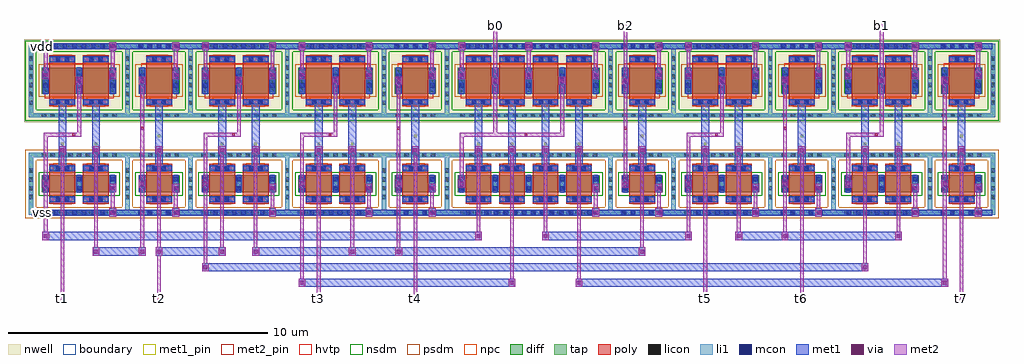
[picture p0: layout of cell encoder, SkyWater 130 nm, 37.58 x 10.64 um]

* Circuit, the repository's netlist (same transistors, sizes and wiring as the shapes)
* SPDX-License-Identifier: Apache-2.0
* Copyright 2026 Mauro Rodriguez Blasco
*
* The 3-bit flash ADC's encoder: the 7 comparator outputs t1 (lowest) to t7, a thermometer code,
* into 3 bits: b2 = t4, b1 = (t2 and not t4) or t6, b0 = (t1 and not t2) or (t3 and not t4) or
* (t5 and not t6) or t7. Five inverters, five NAND2 and one NAND4, all L = 1 um: speed is not a
* goal. Designed in VibeSPICE (project layout-project, block encoder).
*
* Layout: the 11 gates in one row, sharing their rails, in the order N12 I2 N24 N34 I4 Nb0 Ib2
* N56 I6 Nb1 I7, so that t1 to t7 arrive in order; the nets between gates run on 4 tracks
* below the row, the inputs leave at the bottom and the bits at the top. Reference for LVS
* (scripts/flow.py lvs encoder).
.subckt encoder t1 t2 t3 t4 t5 t6 t7 b0 b1 b2 vdd vss
XM1 T2_B t2 vdd vdd sky130_fd_pr__pfet_01v8_hvt w=1 l=1
XM2 T2_B t2 vss vss sky130_fd_pr__nfet_01v8 w=0.65 l=1
XM3 T4_B t4 vdd vdd sky130_fd_pr__pfet_01v8_hvt w=1 l=1
XM4 T4_B t4 vss vss sky130_fd_pr__nfet_01v8 w=0.65 l=1
XM5 T6_B t6 vdd vdd sky130_fd_pr__pfet_01v8_hvt w=1 l=1
XM6 T6_B t6 vss vss sky130_fd_pr__nfet_01v8 w=0.65 l=1
XM7 T7_B t7 vdd vdd sky130_fd_pr__pfet_01v8_hvt w=1 l=1
XM8 T7_B t7 vss vss sky130_fd_pr__nfet_01v8 w=0.65 l=1
XM9 b2 T4_B vdd vdd sky130_fd_pr__pfet_01v8_hvt w=1 l=1
XM10 b2 T4_B vss vss sky130_fd_pr__nfet_01v8 w=0.65 l=1
XM11 N12 t1 vdd vdd sky130_fd_pr__pfet_01v8_hvt w=1 l=1
XM12 N12 T2_B vdd vdd sky130_fd_pr__pfet_01v8_hvt w=1 l=1
XM13 N12 t1 XM13_XM14 vss sky130_fd_pr__nfet_01v8 w=0.65 l=1
XM14 XM13_XM14 T2_B vss vss sky130_fd_pr__nfet_01v8 w=0.65 l=1
XM15 N34 t3 vdd vdd sky130_fd_pr__pfet_01v8_hvt w=1 l=1
XM16 N34 T4_B vdd vdd sky130_fd_pr__pfet_01v8_hvt w=1 l=1
XM17 N34 t3 XM17_XM18 vss sky130_fd_pr__nfet_01v8 w=0.65 l=1
XM18 XM17_XM18 T4_B vss vss sky130_fd_pr__nfet_01v8 w=0.65 l=1
XM19 N56 t5 vdd vdd sky130_fd_pr__pfet_01v8_hvt w=1 l=1
XM20 N56 T6_B vdd vdd sky130_fd_pr__pfet_01v8_hvt w=1 l=1
XM21 N56 t5 XM21_XM22 vss sky130_fd_pr__nfet_01v8 w=0.65 l=1
XM22 XM21_XM22 T6_B vss vss sky130_fd_pr__nfet_01v8 w=0.65 l=1
XM23 N24 t2 vdd vdd sky130_fd_pr__pfet_01v8_hvt w=1 l=1
XM24 N24 T4_B vdd vdd sky130_fd_pr__pfet_01v8_hvt w=1 l=1
XM25 N24 t2 XM25_XM26 vss sky130_fd_pr__nfet_01v8 w=0.65 l=1
XM26 XM25_XM26 T4_B vss vss sky130_fd_pr__nfet_01v8 w=0.65 l=1
XM27 b1 N24 vdd vdd sky130_fd_pr__pfet_01v8_hvt w=1 l=1
XM28 b1 T6_B vdd vdd sky130_fd_pr__pfet_01v8_hvt w=1 l=1
XM29 b1 N24 XM29_XM30 vss sky130_fd_pr__nfet_01v8 w=0.65 l=1
XM30 XM29_XM30 T6_B vss vss sky130_fd_pr__nfet_01v8 w=0.65 l=1
XM31 b0 N12 vdd vdd sky130_fd_pr__pfet_01v8_hvt w=1 l=1
XM32 b0 N34 vdd vdd sky130_fd_pr__pfet_01v8_hvt w=1 l=1
XM33 b0 N56 vdd vdd sky130_fd_pr__pfet_01v8_hvt w=1 l=1
XM34 b0 T7_B vdd vdd sky130_fd_pr__pfet_01v8_hvt w=1 l=1
XM35 b0 N12 XM35_XM36 vss sky130_fd_pr__nfet_01v8 w=0.65 l=1
XM36 XM35_XM36 N34 XM36_XM37 vss sky130_fd_pr__nfet_01v8 w=0.65 l=1
XM37 XM36_XM37 N56 XM37_XM38 vss sky130_fd_pr__nfet_01v8 w=0.65 l=1
XM38 XM37_XM38 T7_B vss vss sky130_fd_pr__nfet_01v8 w=0.65 l=1
.ends encoder

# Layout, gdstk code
import gdstk
lib = gdstk.Library(unit=1e-6, precision=1e-09)
def R(c, l, rs):  # rectangles x0, y0, x1, y1
    for r in rs: c.add(gdstk.rectangle(r[:2], r[2:], *l))
def A(c, l, x, y, w, h, nx, ny, dx, dy):  # array of equal rectangles
    R(c, l, [(x+i*dx, y+j*dy, x+i*dx+w, y+j*dy+h) for i in range(nx) for j in range(ny)])
nwell = (64, 20)
diff = (65, 20)
tap = (65, 44)
poly = (66, 20)
licon = (66, 44)
li1 = (67, 20)
mcon = (67, 44)
met1_pin = (68, 16)
met1 = (68, 20)
via = (68, 44)
met2_pin = (69, 16)
met2 = (69, 20)
hvtp = (78, 44)
nsdm = (93, 44)
psdm = (94, 20)
npc = (95, 20)
boundary = (235, 4)

sky130_fd_pr__pfet_01v8_ = lib.new_cell('sky130_fd_pr__pfet_01v8_hvt_SLA84M')
R(sky130_fd_pr__pfet_01v8_, nwell, [(-1.48,-1.595,1.48,1.595)])
R(sky130_fd_pr__pfet_01v8_, diff, [(-0.79,-0.5,0.79,0.5)])
R(sky130_fd_pr__pfet_01v8_, tap, [(-1.3,-1.415,1.3,-1.245), (-1.3,-1.245,-1.13,1.245), (1.13,-1.245,1.3,1.245), (-1.3,1.245,1.3,1.415)])
R(sky130_fd_pr__pfet_01v8_, poly, [(-0.5,-0.985,0.5,0.985)])
A(sky130_fd_pr__pfet_01v8_, licon, -0.765, -1.415, 0.17, 0.17, 5, 2, 0.34, 2.66)
A(sky130_fd_pr__pfet_01v8_, licon, -1.3, -0.935, 0.17, 0.17, 1, 6, 0, 0.34)
A(sky130_fd_pr__pfet_01v8_, licon, 1.13, -0.935, 0.17, 0.17, 1, 6, 0, 0.34)
A(sky130_fd_pr__pfet_01v8_, licon, -0.73, -0.425, 0.17, 0.17, 1, 3, 0, 0.34)
A(sky130_fd_pr__pfet_01v8_, licon, 0.56, -0.425, 0.17, 0.17, 1, 3, 0, 0.34)
R(sky130_fd_pr__pfet_01v8_, licon, [(-0.255,-0.905,-0.085,-0.735), (0.085,-0.905,0.255,-0.735), (-0.255,0.735,-0.085,0.905), (0.085,0.735,0.255,0.905)])
R(sky130_fd_pr__pfet_01v8_, li1, [(-1.3,-1.415,1.3,-1.245), (-1.3,-1.245,-1.13,1.245), (1.13,-1.245,1.3,1.245), (-0.5,-0.905,0.5,-0.735), (-0.73,-0.52,-0.56,0.52), (0.56,-0.52,0.73,0.52), (-0.5,0.735,0.5,0.905), (-1.3,1.245,1.3,1.415)])
A(sky130_fd_pr__pfet_01v8_, mcon, -0.805, 1.245, 0.17, 0.17, 5, 1, 0.36, 0)
R(sky130_fd_pr__pfet_01v8_, mcon, [(-0.265,-0.905,-0.095,-0.735), (0.095,-0.905,0.265,-0.735), (-0.73,-0.265,-0.56,-0.095), (0.56,-0.265,0.73,-0.095), (-0.73,0.095,-0.56,0.265), (0.56,0.095,0.73,0.265), (-0.265,0.735,-0.095,0.905), (0.095,0.735,0.265,0.905)])
R(sky130_fd_pr__pfet_01v8_, met1, [(-0.48,-0.935,0.48,-0.705), (-0.76,-0.5,-0.53,0.5), (0.53,-0.5,0.76,0.5), (-0.48,0.705,0.48,0.935), (-0.965,1.215,0.965,1.445)])
R(sky130_fd_pr__pfet_01v8_, hvtp, [(-0.68,-0.68,0.68,0.68)])
R(sky130_fd_pr__pfet_01v8_, nsdm, [(-1.425,-1.54,1.425,-1.12), (-1.425,-1.12,-1.005,1.12), (1.005,-1.12,1.425,1.12), (-1.425,1.12,1.425,1.54)])
R(sky130_fd_pr__pfet_01v8_, psdm, [(-0.915,-0.625,0.915,0.625)])
R(sky130_fd_pr__pfet_01v8_, npc, [(-0.355,-1.005,0.355,-0.635), (-0.355,0.635,0.355,1.005)])
R(sky130_fd_pr__pfet_01v8_, boundary, [(-1.215,-1.33,1.215,1.33)])
sky130_fd_pr__pfet_01v8_.add(gdstk.Label('B', (0,-1.33), layer=67, texttype=5))
sky130_fd_pr__pfet_01v8_.add(gdstk.Label('D', (-0.645,0), layer=67, texttype=5))
sky130_fd_pr__pfet_01v8_.add(gdstk.Label('S', (0.645,0), layer=67, texttype=5))
sky130_fd_pr__pfet_01v8_.add(gdstk.Label('G', (0,0.82), layer=67, texttype=5))

sky130_fd_pr__nfet_01v8_ = lib.new_cell('sky130_fd_pr__nfet_01v8_APJKA6')
R(sky130_fd_pr__nfet_01v8_, diff, [(-0.79,-0.325,0.79,0.325)])
R(sky130_fd_pr__nfet_01v8_, tap, [(-1.3,-1.195,1.3,-1.025), (-1.3,-1.025,-1.13,1.025), (1.13,-1.025,1.3,1.025), (-1.3,1.025,1.3,1.195)])
R(sky130_fd_pr__nfet_01v8_, poly, [(-0.5,-0.765,0.5,0.765)])
A(sky130_fd_pr__nfet_01v8_, licon, -0.765, -1.195, 0.17, 0.17, 5, 2, 0.34, 2.22)
A(sky130_fd_pr__nfet_01v8_, licon, -1.3, -0.595, 0.17, 0.17, 1, 4, 0, 0.34)
A(sky130_fd_pr__nfet_01v8_, licon, 1.13, -0.595, 0.17, 0.17, 1, 4, 0, 0.34)
R(sky130_fd_pr__nfet_01v8_, licon, [(-0.255,-0.685,-0.085,-0.515), (0.085,-0.685,0.255,-0.515), (-0.73,-0.255,-0.56,-0.085), (0.56,-0.255,0.73,-0.085), (-0.73,0.085,-0.56,0.255), (0.56,0.085,0.73,0.255), (-0.255,0.515,-0.085,0.685), (0.085,0.515,0.255,0.685)])
R(sky130_fd_pr__nfet_01v8_, li1, [(-1.3,-1.195,1.3,-1.025), (-1.3,-1.025,-1.13,1.025), (1.13,-1.025,1.3,1.025), (-0.5,-0.685,0.5,-0.515), (-0.73,-0.345,-0.56,0.345), (0.56,-0.345,0.73,0.345), (-0.5,0.515,0.5,0.685), (-1.3,1.025,1.3,1.195)])
A(sky130_fd_pr__nfet_01v8_, mcon, -0.805, -1.195, 0.17, 0.17, 5, 1, 0.36, 0)
R(sky130_fd_pr__nfet_01v8_, mcon, [(-0.265,-0.685,-0.095,-0.515), (0.095,-0.685,0.265,-0.515), (-0.73,-0.265,-0.56,-0.095), (0.56,-0.265,0.73,-0.095), (-0.73,0.095,-0.56,0.265), (0.56,0.095,0.73,0.265), (-0.265,0.515,-0.095,0.685), (0.095,0.515,0.265,0.685)])
R(sky130_fd_pr__nfet_01v8_, met1, [(-0.965,-1.225,0.965,-0.995), (-0.48,-0.715,0.48,-0.485), (-0.76,-0.325,-0.53,0.325), (0.53,-0.325,0.76,0.325), (-0.48,0.485,0.48,0.715)])
R(sky130_fd_pr__nfet_01v8_, nsdm, [(-0.915,-0.45,0.915,0.45)])
R(sky130_fd_pr__nfet_01v8_, psdm, [(-1.425,-1.32,1.425,-0.9), (-1.425,-0.9,-1.005,0.9), (1.005,-0.9,1.425,0.9), (-1.425,0.9,1.425,1.32)])
R(sky130_fd_pr__nfet_01v8_, npc, [(-0.355,-0.785,0.355,-0.415), (-0.355,0.415,0.355,0.785)])
R(sky130_fd_pr__nfet_01v8_, boundary, [(-1.215,-1.11,1.215,1.11)])
sky130_fd_pr__nfet_01v8_.add(gdstk.Label('B', (0,-1.11), layer=67, texttype=5))
sky130_fd_pr__nfet_01v8_.add(gdstk.Label('D', (-0.645,0), layer=67, texttype=5))
sky130_fd_pr__nfet_01v8_.add(gdstk.Label('S', (0.645,0), layer=67, texttype=5))
sky130_fd_pr__nfet_01v8_.add(gdstk.Label('G', (0,0.6), layer=67, texttype=5))

inv = lib.new_cell('inv')
R(inv, met1_pin, [(1.17,2.9,1.26,3)])
R(inv, met1, [(1.73,-0.16,1.99,0.16), (1.73,0.79,1.99,1.11), (0.44,0.95,0.7,1.27), (1.065,1.625,1.365,4.345), (0.44,4.92,0.7,5.24), (1.73,5.14,1.99,5.46), (1.73,6.25,1.99,6.57)])
R(inv, via, [(1.785,-0.075,1.935,0.075), (1.785,0.875,1.935,1.025), (0.495,1.035,0.645,1.185), (0.495,5.005,0.645,5.155), (1.785,5.225,1.935,5.375), (1.785,6.335,1.935,6.485)])
R(inv, met2_pin, [(1.82,-0.04,1.9,0.04), (0.53,3.2,0.61,3.3), (1.82,6.37,1.9,6.45)])
R(inv, met2, [(1.73,-0.16,1.99,0.16), (1.79,0.16,1.93,0.79), (1.73,0.79,1.99,1.11), (0.44,0.95,0.7,1.27), (0.5,1.27,0.64,4.92), (0.44,4.92,0.7,5.24), (1.73,5.14,1.99,5.46), (1.79,5.46,1.93,6.25), (1.73,6.25,1.99,6.57)])
inv.add(gdstk.Reference(sky130_fd_pr__pfet_01v8_, (1.215,5.08)))
inv.add(gdstk.Reference(sky130_fd_pr__nfet_01v8_, (1.215,1.11)))
inv.add(gdstk.Label('a', (1.215,2.95), layer=68, texttype=5))
inv.add(gdstk.Label('y', (0.57,3.25), layer=69, texttype=5))
inv.add(gdstk.Label('vdd', (1.86,6.41), layer=69, texttype=5))
inv.add(gdstk.Label('vss', (1.86,0), layer=69, texttype=5))

c_sky130_fd_pr__pfet_01v8_ = lib.new_cell('sky130_fd_pr__pfet_01v8_hvt_8DTHA7')
R(c_sky130_fd_pr__pfet_01v8_, nwell, [(-2.125,-1.595,2.125,1.595)])
R(c_sky130_fd_pr__pfet_01v8_, diff, [(-1.435,-0.5,1.435,0.5)])
R(c_sky130_fd_pr__pfet_01v8_, tap, [(-1.945,-1.415,1.945,-1.245), (-1.945,-1.245,-1.775,1.245), (1.775,-1.245,1.945,1.245), (-1.945,1.245,1.945,1.415)])
R(c_sky130_fd_pr__pfet_01v8_, poly, [(-1.145,-0.985,-0.145,0.985), (0.145,-0.985,1.145,0.985)])
A(c_sky130_fd_pr__pfet_01v8_, licon, -1.445, -1.415, 0.17, 0.17, 9, 2, 0.34, 2.66)
A(c_sky130_fd_pr__pfet_01v8_, licon, -1.945, -0.935, 0.17, 0.17, 1, 6, 0, 0.34)
A(c_sky130_fd_pr__pfet_01v8_, licon, 1.775, -0.935, 0.17, 0.17, 1, 6, 0, 0.34)
A(c_sky130_fd_pr__pfet_01v8_, licon, -1.375, -0.425, 0.17, 0.17, 3, 3, 1.29, 0.34)
R(c_sky130_fd_pr__pfet_01v8_, licon, [(-0.9,-0.905,-0.73,-0.735), (-0.56,-0.905,-0.39,-0.735), (0.39,-0.905,0.56,-0.735), (0.73,-0.905,0.9,-0.735), (-0.9,0.735,-0.73,0.905), (-0.56,0.735,-0.39,0.905), (0.39,0.735,0.56,0.905), (0.73,0.735,0.9,0.905)])
A(c_sky130_fd_pr__pfet_01v8_, li1, -1.375, -0.52, 0.17, 1.04, 3, 1, 1.29, 0)
R(c_sky130_fd_pr__pfet_01v8_, li1, [(-1.945,-1.415,1.945,-1.245), (-1.945,-1.245,-1.775,1.245), (1.775,-1.245,1.945,1.245), (-1.145,-0.905,-0.145,-0.735), (0.145,-0.905,1.145,-0.735), (-1.145,0.735,-0.145,0.905), (0.145,0.735,1.145,0.905), (-1.945,1.245,1.945,1.415)])
A(c_sky130_fd_pr__pfet_01v8_, mcon, -1.375, -0.265, 0.17, 0.17, 3, 2, 1.29, 0.36)
A(c_sky130_fd_pr__pfet_01v8_, mcon, -1.345, 1.245, 0.17, 0.17, 8, 1, 0.36, 0)
R(c_sky130_fd_pr__pfet_01v8_, mcon, [(-0.91,-0.905,-0.74,-0.735), (-0.55,-0.905,-0.38,-0.735), (0.38,-0.905,0.55,-0.735), (0.74,-0.905,0.91,-0.735), (-0.91,0.735,-0.74,0.905), (-0.55,0.735,-0.38,0.905), (0.38,0.735,0.55,0.905), (0.74,0.735,0.91,0.905)])
A(c_sky130_fd_pr__pfet_01v8_, met1, -1.405, -0.5, 0.23, 1, 3, 1, 1.29, 0)
R(c_sky130_fd_pr__pfet_01v8_, met1, [(-1.125,-0.935,-0.165,-0.705), (0.165,-0.935,1.125,-0.705), (-1.125,0.705,-0.165,0.935), (0.165,0.705,1.125,0.935), (-1.48,1.215,1.48,1.445)])
R(c_sky130_fd_pr__pfet_01v8_, hvtp, [(-1.325,-0.68,1.325,0.68)])
R(c_sky130_fd_pr__pfet_01v8_, nsdm, [(-2.07,-1.54,2.07,-1.12), (-2.07,-1.12,-1.65,1.12), (1.65,-1.12,2.07,1.12), (-2.07,1.12,2.07,1.54)])
R(c_sky130_fd_pr__pfet_01v8_, psdm, [(-1.56,-0.625,1.56,0.625)])
R(c_sky130_fd_pr__pfet_01v8_, npc, [(-1,-1.005,-0.29,-0.635), (0.29,-1.005,1,-0.635), (-1,0.635,-0.29,1.005), (0.29,0.635,1,1.005)])
R(c_sky130_fd_pr__pfet_01v8_, boundary, [(-1.86,-1.33,1.86,1.33)])
c_sky130_fd_pr__pfet_01v8_.add(gdstk.Label('B', (0,-1.33), layer=67, texttype=5))
c_sky130_fd_pr__pfet_01v8_.add(gdstk.Label('D0', (-1.29,0), layer=67, texttype=5))
c_sky130_fd_pr__pfet_01v8_.add(gdstk.Label('G0', (-0.645,0.82), layer=67, texttype=5))
c_sky130_fd_pr__pfet_01v8_.add(gdstk.Label('S1', (0,0), layer=67, texttype=5))
c_sky130_fd_pr__pfet_01v8_.add(gdstk.Label('G1', (0.645,0.82), layer=67, texttype=5))

c_sky130_fd_pr__nfet_01v8_ = lib.new_cell('sky130_fd_pr__nfet_01v8_R85Q2S')
R(c_sky130_fd_pr__nfet_01v8_, diff, [(-1.435,-0.325,1.435,0.325)])
R(c_sky130_fd_pr__nfet_01v8_, tap, [(-1.945,-1.195,1.945,-1.025), (-1.945,-1.025,-1.775,1.025), (1.775,-1.025,1.945,1.025), (-1.945,1.025,1.945,1.195)])
R(c_sky130_fd_pr__nfet_01v8_, poly, [(-1.145,-0.765,-0.145,0.765), (0.145,-0.765,1.145,0.765)])
A(c_sky130_fd_pr__nfet_01v8_, licon, -1.445, -1.195, 0.17, 0.17, 9, 2, 0.34, 2.22)
A(c_sky130_fd_pr__nfet_01v8_, licon, -1.945, -0.595, 0.17, 0.17, 1, 4, 0, 0.34)
A(c_sky130_fd_pr__nfet_01v8_, licon, 1.775, -0.595, 0.17, 0.17, 1, 4, 0, 0.34)
A(c_sky130_fd_pr__nfet_01v8_, licon, -1.375, -0.255, 0.17, 0.17, 3, 2, 1.29, 0.34)
R(c_sky130_fd_pr__nfet_01v8_, licon, [(-0.9,-0.685,-0.73,-0.515), (-0.56,-0.685,-0.39,-0.515), (0.39,-0.685,0.56,-0.515), (0.73,-0.685,0.9,-0.515), (-0.9,0.515,-0.73,0.685), (-0.56,0.515,-0.39,0.685), (0.39,0.515,0.56,0.685), (0.73,0.515,0.9,0.685)])
A(c_sky130_fd_pr__nfet_01v8_, li1, -1.375, -0.345, 0.17, 0.69, 3, 1, 1.29, 0)
R(c_sky130_fd_pr__nfet_01v8_, li1, [(-1.945,-1.195,1.945,-1.025), (-1.945,-1.025,-1.775,1.025), (1.775,-1.025,1.945,1.025), (-1.145,-0.685,-0.145,-0.515), (0.145,-0.685,1.145,-0.515), (-1.145,0.515,-0.145,0.685), (0.145,0.515,1.145,0.685), (-1.945,1.025,1.945,1.195)])
A(c_sky130_fd_pr__nfet_01v8_, mcon, -1.345, -1.195, 0.17, 0.17, 8, 1, 0.36, 0)
A(c_sky130_fd_pr__nfet_01v8_, mcon, -1.375, -0.265, 0.17, 0.17, 3, 2, 1.29, 0.36)
R(c_sky130_fd_pr__nfet_01v8_, mcon, [(-0.91,-0.685,-0.74,-0.515), (-0.55,-0.685,-0.38,-0.515), (0.38,-0.685,0.55,-0.515), (0.74,-0.685,0.91,-0.515), (-0.91,0.515,-0.74,0.685), (-0.55,0.515,-0.38,0.685), (0.38,0.515,0.55,0.685), (0.74,0.515,0.91,0.685)])
A(c_sky130_fd_pr__nfet_01v8_, met1, -1.405, -0.325, 0.23, 0.65, 3, 1, 1.29, 0)
R(c_sky130_fd_pr__nfet_01v8_, met1, [(-1.48,-1.225,1.48,-0.995), (-1.125,-0.715,-0.165,-0.485), (0.165,-0.715,1.125,-0.485), (-1.125,0.485,-0.165,0.715), (0.165,0.485,1.125,0.715)])
R(c_sky130_fd_pr__nfet_01v8_, nsdm, [(-1.56,-0.45,1.56,0.45)])
R(c_sky130_fd_pr__nfet_01v8_, psdm, [(-2.07,-1.32,2.07,-0.9), (-2.07,-0.9,-1.65,0.9), (1.65,-0.9,2.07,0.9), (-2.07,0.9,2.07,1.32)])
R(c_sky130_fd_pr__nfet_01v8_, npc, [(-1,-0.785,-0.29,-0.415), (0.29,-0.785,1,-0.415), (-1,0.415,-0.29,0.785), (0.29,0.415,1,0.785)])
R(c_sky130_fd_pr__nfet_01v8_, boundary, [(-1.86,-1.11,1.86,1.11)])
c_sky130_fd_pr__nfet_01v8_.add(gdstk.Label('B', (0,-1.11), layer=67, texttype=5))
c_sky130_fd_pr__nfet_01v8_.add(gdstk.Label('D0', (-1.29,0), layer=67, texttype=5))
c_sky130_fd_pr__nfet_01v8_.add(gdstk.Label('G0', (-0.645,0.6), layer=67, texttype=5))
c_sky130_fd_pr__nfet_01v8_.add(gdstk.Label('S1', (0,0), layer=67, texttype=5))
c_sky130_fd_pr__nfet_01v8_.add(gdstk.Label('G1', (0.645,0.6), layer=67, texttype=5))

nand2 = lib.new_cell('nand2')
R(nand2, met1_pin, [(1.17,2.6,1.26,2.7), (2.46,2.6,2.55,2.7)])
R(nand2, met1, [(3.02,-0.16,3.28,0.16), (3.02,0.79,3.28,1.11), (0.44,0.95,0.7,1.27), (1.065,1.625,1.365,4.345), (2.355,1.625,2.655,4.345), (1.73,4.92,1.99,5.24), (0.44,5.14,0.7,5.46), (3.02,5.14,3.28,5.46), (0.44,6.25,0.7,6.57), (3.02,6.25,3.28,6.57)])
R(nand2, via, [(3.075,-0.075,3.225,0.075), (3.075,0.875,3.225,1.025), (0.495,1.035,0.645,1.185), (1.785,5.005,1.935,5.155), (0.495,5.225,0.645,5.375), (3.075,5.225,3.225,5.375), (0.495,6.335,0.645,6.485), (3.075,6.335,3.225,6.485)])
R(nand2, met2_pin, [(3.11,-0.04,3.19,0.04), (1.6,2.96,1.7,3.04), (3.11,6.37,3.19,6.45)])
R(nand2, met2, [(3.02,-0.16,3.28,0.16), (3.08,0.16,3.22,0.79), (3.02,0.79,3.28,1.11), (0.44,0.95,0.7,1.27), (0.5,1.27,0.64,2.93), (0.5,2.93,1.93,3.07), (1.79,3.07,1.93,4.92), (1.73,4.92,1.99,5.24), (0.44,5.14,0.7,5.46), (3.02,5.14,3.28,5.46), (0.5,5.46,0.64,6.25), (3.08,5.46,3.22,6.25), (0.44,6.25,0.7,6.57), (3.02,6.25,3.28,6.57)])
nand2.add(gdstk.Reference(c_sky130_fd_pr__pfet_01v8_, (1.86,5.08)))
nand2.add(gdstk.Reference(c_sky130_fd_pr__nfet_01v8_, (1.86,1.11)))
nand2.add(gdstk.Label('a', (1.215,2.65), layer=68, texttype=5))
nand2.add(gdstk.Label('b', (2.505,2.65), layer=68, texttype=5))
nand2.add(gdstk.Label('y', (1.65,3), layer=69, texttype=5))
nand2.add(gdstk.Label('vdd', (3.15,6.41), layer=69, texttype=5))
nand2.add(gdstk.Label('vss', (3.15,0), layer=69, texttype=5))

c_sky130_fd_pr__pfet_01v8__ = lib.new_cell('sky130_fd_pr__pfet_01v8_hvt_CRFMCB')
R(c_sky130_fd_pr__pfet_01v8__, nwell, [(-3.415,-1.595,3.415,1.595)])
R(c_sky130_fd_pr__pfet_01v8__, diff, [(-2.725,-0.5,2.725,0.5)])
R(c_sky130_fd_pr__pfet_01v8__, tap, [(-3.235,-1.415,3.235,-1.245), (-3.235,-1.245,-3.065,1.245), (3.065,-1.245,3.235,1.245), (-3.235,1.245,3.235,1.415)])
A(c_sky130_fd_pr__pfet_01v8__, poly, -2.435, -0.985, 1, 1.97, 4, 1, 1.29, 0)
A(c_sky130_fd_pr__pfet_01v8__, licon, -2.635, -1.415, 0.17, 0.17, 16, 2, 0.34, 2.66)
A(c_sky130_fd_pr__pfet_01v8__, licon, -3.235, -0.935, 0.17, 0.17, 1, 6, 0, 0.34)
A(c_sky130_fd_pr__pfet_01v8__, licon, 3.065, -0.935, 0.17, 0.17, 1, 6, 0, 0.34)
A(c_sky130_fd_pr__pfet_01v8__, licon, -2.665, -0.425, 0.17, 0.17, 5, 3, 1.29, 0.34)
R(c_sky130_fd_pr__pfet_01v8__, licon, [(-2.19,-0.905,-2.02,-0.735), (-1.85,-0.905,-1.68,-0.735), (-0.9,-0.905,-0.73,-0.735), (-0.56,-0.905,-0.39,-0.735), (0.39,-0.905,0.56,-0.735), (0.73,-0.905,0.9,-0.735), (1.68,-0.905,1.85,-0.735), (2.02,-0.905,2.19,-0.735), (-2.19,0.735,-2.02,0.905), (-1.85,0.735,-1.68,0.905), (-0.9,0.735,-0.73,0.905), (-0.56,0.735,-0.39,0.905), (0.39,0.735,0.56,0.905), (0.73,0.735,0.9,0.905), (1.68,0.735,1.85,0.905), (2.02,0.735,2.19,0.905)])
A(c_sky130_fd_pr__pfet_01v8__, li1, -2.435, -0.905, 1, 0.17, 4, 2, 1.29, 1.64)
A(c_sky130_fd_pr__pfet_01v8__, li1, -2.665, -0.52, 0.17, 1.04, 5, 1, 1.29, 0)
R(c_sky130_fd_pr__pfet_01v8__, li1, [(-3.235,-1.415,3.235,-1.245), (-3.235,-1.245,-3.065,1.245), (3.065,-1.245,3.235,1.245), (-3.235,1.245,3.235,1.415)])
A(c_sky130_fd_pr__pfet_01v8__, mcon, -2.665, -0.265, 0.17, 0.17, 5, 2, 1.29, 0.36)
A(c_sky130_fd_pr__pfet_01v8__, mcon, -2.425, 1.245, 0.17, 0.17, 14, 1, 0.36, 0)
R(c_sky130_fd_pr__pfet_01v8__, mcon, [(-2.2,-0.905,-2.03,-0.735), (-1.84,-0.905,-1.67,-0.735), (-0.91,-0.905,-0.74,-0.735), (-0.55,-0.905,-0.38,-0.735), (0.38,-0.905,0.55,-0.735), (0.74,-0.905,0.91,-0.735), (1.67,-0.905,1.84,-0.735), (2.03,-0.905,2.2,-0.735), (-2.2,0.735,-2.03,0.905), (-1.84,0.735,-1.67,0.905), (-0.91,0.735,-0.74,0.905), (-0.55,0.735,-0.38,0.905), (0.38,0.735,0.55,0.905), (0.74,0.735,0.91,0.905), (1.67,0.735,1.84,0.905), (2.03,0.735,2.2,0.905)])
A(c_sky130_fd_pr__pfet_01v8__, met1, -2.415, -0.935, 0.96, 0.23, 4, 2, 1.29, 1.64)
A(c_sky130_fd_pr__pfet_01v8__, met1, -2.695, -0.5, 0.23, 1, 5, 1, 1.29, 0)
R(c_sky130_fd_pr__pfet_01v8__, met1, [(-2.51,1.215,2.51,1.445)])
R(c_sky130_fd_pr__pfet_01v8__, hvtp, [(-2.615,-0.68,2.615,0.68)])
R(c_sky130_fd_pr__pfet_01v8__, nsdm, [(-3.36,-1.54,3.36,-1.12), (-3.36,-1.12,-2.94,1.12), (2.94,-1.12,3.36,1.12), (-3.36,1.12,3.36,1.54)])
R(c_sky130_fd_pr__pfet_01v8__, psdm, [(-2.85,-0.625,2.85,0.625)])
A(c_sky130_fd_pr__pfet_01v8__, npc, -2.29, -1.005, 0.71, 0.37, 4, 2, 1.29, 1.64)
R(c_sky130_fd_pr__pfet_01v8__, boundary, [(-3.15,-1.33,3.15,1.33)])
c_sky130_fd_pr__pfet_01v8__.add(gdstk.Label('B', (0,-1.33), layer=67, texttype=5))
c_sky130_fd_pr__pfet_01v8__.add(gdstk.Label('D0', (-2.58,0), layer=67, texttype=5))
c_sky130_fd_pr__pfet_01v8__.add(gdstk.Label('G0', (-1.935,0.82), layer=67, texttype=5))
c_sky130_fd_pr__pfet_01v8__.add(gdstk.Label('S1', (-1.29,0), layer=67, texttype=5))
c_sky130_fd_pr__pfet_01v8__.add(gdstk.Label('G1', (-0.645,0.82), layer=67, texttype=5))
c_sky130_fd_pr__pfet_01v8__.add(gdstk.Label('D2', (0,0), layer=67, texttype=5))
c_sky130_fd_pr__pfet_01v8__.add(gdstk.Label('G2', (0.645,0.82), layer=67, texttype=5))
c_sky130_fd_pr__pfet_01v8__.add(gdstk.Label('S3', (1.29,0), layer=67, texttype=5))
c_sky130_fd_pr__pfet_01v8__.add(gdstk.Label('G3', (1.935,0.82), layer=67, texttype=5))

c_sky130_fd_pr__nfet_01v8__ = lib.new_cell('sky130_fd_pr__nfet_01v8_ZLFAQ8')
R(c_sky130_fd_pr__nfet_01v8__, diff, [(-2.725,-0.325,2.725,0.325)])
R(c_sky130_fd_pr__nfet_01v8__, tap, [(-3.235,-1.195,3.235,-1.025), (-3.235,-1.025,-3.065,1.025), (3.065,-1.025,3.235,1.025), (-3.235,1.025,3.235,1.195)])
A(c_sky130_fd_pr__nfet_01v8__, poly, -2.435, -0.765, 1, 1.53, 4, 1, 1.29, 0)
A(c_sky130_fd_pr__nfet_01v8__, licon, -2.635, -1.195, 0.17, 0.17, 16, 2, 0.34, 2.22)
A(c_sky130_fd_pr__nfet_01v8__, licon, -3.235, -0.595, 0.17, 0.17, 1, 4, 0, 0.34)
A(c_sky130_fd_pr__nfet_01v8__, licon, 3.065, -0.595, 0.17, 0.17, 1, 4, 0, 0.34)
A(c_sky130_fd_pr__nfet_01v8__, licon, -2.665, -0.255, 0.17, 0.17, 5, 2, 1.29, 0.34)
R(c_sky130_fd_pr__nfet_01v8__, licon, [(-2.19,-0.685,-2.02,-0.515), (-1.85,-0.685,-1.68,-0.515), (-0.9,-0.685,-0.73,-0.515), (-0.56,-0.685,-0.39,-0.515), (0.39,-0.685,0.56,-0.515), (0.73,-0.685,0.9,-0.515), (1.68,-0.685,1.85,-0.515), (2.02,-0.685,2.19,-0.515), (-2.19,0.515,-2.02,0.685), (-1.85,0.515,-1.68,0.685), (-0.9,0.515,-0.73,0.685), (-0.56,0.515,-0.39,0.685), (0.39,0.515,0.56,0.685), (0.73,0.515,0.9,0.685), (1.68,0.515,1.85,0.685), (2.02,0.515,2.19,0.685)])
A(c_sky130_fd_pr__nfet_01v8__, li1, -2.435, -0.685, 1, 0.17, 4, 2, 1.29, 1.2)
A(c_sky130_fd_pr__nfet_01v8__, li1, -2.665, -0.345, 0.17, 0.69, 5, 1, 1.29, 0)
R(c_sky130_fd_pr__nfet_01v8__, li1, [(-3.235,-1.195,3.235,-1.025), (-3.235,-1.025,-3.065,1.025), (3.065,-1.025,3.235,1.025), (-3.235,1.025,3.235,1.195)])
A(c_sky130_fd_pr__nfet_01v8__, mcon, -2.425, -1.195, 0.17, 0.17, 14, 1, 0.36, 0)
A(c_sky130_fd_pr__nfet_01v8__, mcon, -2.665, -0.265, 0.17, 0.17, 5, 2, 1.29, 0.36)
R(c_sky130_fd_pr__nfet_01v8__, mcon, [(-2.2,-0.685,-2.03,-0.515), (-1.84,-0.685,-1.67,-0.515), (-0.91,-0.685,-0.74,-0.515), (-0.55,-0.685,-0.38,-0.515), (0.38,-0.685,0.55,-0.515), (0.74,-0.685,0.91,-0.515), (1.67,-0.685,1.84,-0.515), (2.03,-0.685,2.2,-0.515), (-2.2,0.515,-2.03,0.685), (-1.84,0.515,-1.67,0.685), (-0.91,0.515,-0.74,0.685), (-0.55,0.515,-0.38,0.685), (0.38,0.515,0.55,0.685), (0.74,0.515,0.91,0.685), (1.67,0.515,1.84,0.685), (2.03,0.515,2.2,0.685)])
A(c_sky130_fd_pr__nfet_01v8__, met1, -2.415, -0.715, 0.96, 0.23, 4, 2, 1.29, 1.2)
A(c_sky130_fd_pr__nfet_01v8__, met1, -2.695, -0.325, 0.23, 0.65, 5, 1, 1.29, 0)
R(c_sky130_fd_pr__nfet_01v8__, met1, [(-2.51,-1.225,2.51,-0.995)])
R(c_sky130_fd_pr__nfet_01v8__, nsdm, [(-2.85,-0.45,2.85,0.45)])
R(c_sky130_fd_pr__nfet_01v8__, psdm, [(-3.36,-1.32,3.36,-0.9), (-3.36,-0.9,-2.94,0.9), (2.94,-0.9,3.36,0.9), (-3.36,0.9,3.36,1.32)])
A(c_sky130_fd_pr__nfet_01v8__, npc, -2.29, -0.785, 0.71, 0.37, 4, 2, 1.29, 1.2)
R(c_sky130_fd_pr__nfet_01v8__, boundary, [(-3.15,-1.11,3.15,1.11)])
c_sky130_fd_pr__nfet_01v8__.add(gdstk.Label('B', (0,-1.11), layer=67, texttype=5))
c_sky130_fd_pr__nfet_01v8__.add(gdstk.Label('D0', (-2.58,0), layer=67, texttype=5))
c_sky130_fd_pr__nfet_01v8__.add(gdstk.Label('G0', (-1.935,0.6), layer=67, texttype=5))
c_sky130_fd_pr__nfet_01v8__.add(gdstk.Label('S1', (-1.29,0), layer=67, texttype=5))
c_sky130_fd_pr__nfet_01v8__.add(gdstk.Label('G1', (-0.645,0.6), layer=67, texttype=5))
c_sky130_fd_pr__nfet_01v8__.add(gdstk.Label('D2', (0,0), layer=67, texttype=5))
c_sky130_fd_pr__nfet_01v8__.add(gdstk.Label('G2', (0.645,0.6), layer=67, texttype=5))
c_sky130_fd_pr__nfet_01v8__.add(gdstk.Label('S3', (1.29,0), layer=67, texttype=5))
c_sky130_fd_pr__nfet_01v8__.add(gdstk.Label('G3', (1.935,0.6), layer=67, texttype=5))

nand4 = lib.new_cell('nand4')
A(nand4, met1_pin, 1.17, 2.6, 0.09, 0.1, 4, 1, 1.29, 0)
A(nand4, met1, 1.065, 1.625, 0.3, 2.72, 4, 1, 1.29, 0)
A(nand4, met1, 0.44, 5.14, 0.26, 0.32, 3, 2, 2.58, 1.11)
R(nand4, met1, [(5.6,-0.16,5.86,0.16), (5.6,0.79,5.86,1.11), (0.44,0.95,0.7,1.27), (1.73,4.92,1.99,5.24), (4.31,4.92,4.57,5.24)])
A(nand4, via, 0.495, 5.225, 0.15, 0.15, 3, 2, 2.58, 1.11)
R(nand4, via, [(5.655,-0.075,5.805,0.075), (5.655,0.875,5.805,1.025), (0.495,1.035,0.645,1.185), (1.785,5.005,1.935,5.155), (4.365,5.005,4.515,5.155)])
R(nand4, met2_pin, [(5.69,-0.04,5.77,0.04), (3,2.96,3.1,3.04), (5.69,6.37,5.77,6.45)])
A(nand4, met2, 0.44, 5.14, 0.26, 0.32, 3, 2, 2.58, 1.11)
A(nand4, met2, 0.5, 5.46, 0.14, 0.79, 3, 1, 2.58, 0)
R(nand4, met2, [(5.6,-0.16,5.86,0.16), (5.66,0.16,5.8,0.79), (5.6,0.79,5.86,1.11), (0.44,0.95,0.7,1.27), (0.5,1.27,0.64,2.93), (0.5,2.93,4.51,3.07), (1.79,3.07,1.93,4.92), (4.37,3.07,4.51,4.92), (1.73,4.92,1.99,5.24), (4.31,4.92,4.57,5.24)])
nand4.add(gdstk.Reference(c_sky130_fd_pr__pfet_01v8__, (3.15,5.08)))
nand4.add(gdstk.Reference(c_sky130_fd_pr__nfet_01v8__, (3.15,1.11)))
nand4.add(gdstk.Label('a', (1.215,2.65), layer=68, texttype=5))
nand4.add(gdstk.Label('b', (2.505,2.65), layer=68, texttype=5))
nand4.add(gdstk.Label('c', (3.795,2.65), layer=68, texttype=5))
nand4.add(gdstk.Label('d', (5.085,2.65), layer=68, texttype=5))
nand4.add(gdstk.Label('y', (3.05,3), layer=69, texttype=5))
nand4.add(gdstk.Label('vdd', (5.73,6.41), layer=69, texttype=5))
nand4.add(gdstk.Label('vss', (5.73,0), layer=69, texttype=5))

encoder = lib.new_cell('encoder')
R(encoder, met1_pin, [(0.4,-0.04,0.5,0.04), (0.4,6.37,0.5,6.45)])
A(encoder, met1, 2.375, 2.24, 0.26, 0.32, 3, 1, 2.43, 0)
A(encoder, met1, 12.245, 2.24, 0.26, 0.32, 3, 1, 2.43, 0)
A(encoder, met1, 18.395, 2.24, 0.26, 0.32, 3, 1, 1.29, 0)
A(encoder, met1, 27.125, 2.24, 0.26, 0.32, 3, 1, 2.43, 0)
R(encoder, met1, [(10.31,-2.86,18.655,-2.54), (20.975,-2.86,35.32,-2.54), (6.59,-2.26,32.245,-1.94), (2.375,-1.66,4.42,-1.34), (4.805,-1.66,7.495,-1.34), (8.525,-1.66,23.665,-1.34), (0.44,-1.06,17.365,-0.74), (19.685,-1.06,25.45,-0.74), (27.125,-1.06,33.535,-0.74), (0.025,-0.115,37.025,0.115), (1.085,2.24,1.345,2.56), (8.525,2.24,8.785,2.56), (10.955,2.24,11.215,2.56), (23.405,2.24,23.665,2.56), (25.835,2.24,26.095,2.56), (33.275,2.24,33.535,2.56), (35.705,2.24,35.965,2.56), (0.025,6.295,37.025,6.525)])
A(encoder, via, 2.43, 2.325, 0.15, 0.15, 3, 1, 2.43, 0)
A(encoder, via, 12.3, 2.325, 0.15, 0.15, 3, 1, 2.43, 0)
A(encoder, via, 18.45, 2.325, 0.15, 0.15, 3, 1, 1.29, 0)
A(encoder, via, 27.18, 2.325, 0.15, 0.15, 3, 1, 2.43, 0)
R(encoder, via, [(10.365,-2.775,10.515,-2.625), (18.45,-2.775,18.6,-2.625), (21.03,-2.775,21.18,-2.625), (35.115,-2.775,35.265,-2.625), (6.645,-2.175,6.795,-2.025), (32.04,-2.175,32.19,-2.025), (2.43,-1.575,2.58,-1.425), (4.215,-1.575,4.365,-1.425), (4.86,-1.575,5.01,-1.425), (7.29,-1.575,7.44,-1.425), (8.58,-1.575,8.73,-1.425), (12.3,-1.575,12.45,-1.425), (14.085,-1.575,14.235,-1.425), (23.46,-1.575,23.61,-1.425), (0.495,-0.975,0.645,-0.825), (17.16,-0.975,17.31,-0.825), (19.74,-0.975,19.89,-0.825), (25.245,-0.975,25.395,-0.825), (27.18,-0.975,27.33,-0.825), (28.965,-0.975,29.115,-0.825), (33.33,-0.975,33.48,-0.825), (1.14,2.325,1.29,2.475), (8.58,2.325,8.73,2.475), (11.01,2.325,11.16,2.475), (23.46,2.325,23.61,2.475), (25.89,2.325,26.04,2.475), (33.33,2.325,33.48,2.475), (35.76,2.325,35.91,2.475)])
R(encoder, met2_pin, [(1.175,-3.34,1.255,-3.26), (4.895,-3.34,4.975,-3.26), (11.045,-3.34,11.125,-3.26), (14.765,-3.34,14.845,-3.26), (25.925,-3.34,26.005,-3.26), (29.645,-3.34,29.725,-3.26), (35.795,-3.34,35.875,-3.26), (17.84,7.16,17.92,7.24), (22.85,7.16,22.93,7.24), (32.72,7.16,32.8,7.24)])
A(encoder, met2, 2.435, -1.34, 0.14, 3.58, 3, 1, 2.43, 0)
A(encoder, met2, 2.375, 2.24, 0.26, 0.32, 3, 1, 2.43, 0)
A(encoder, met2, 12.245, 2.24, 0.26, 0.32, 3, 1, 2.43, 0)
A(encoder, met2, 18.395, 2.24, 0.26, 0.32, 3, 1, 1.29, 0)
A(encoder, met2, 27.125, 2.24, 0.26, 0.32, 3, 1, 2.43, 0)
R(encoder, met2, [(1.145,-3.37,1.285,2.24), (4.865,-3.37,5.005,-1.66), (11.015,-3.37,11.155,2.24), (14.735,-3.37,14.875,2.24), (25.895,-3.37,26.035,2.24), (29.615,-3.37,29.755,2.24), (35.765,-3.37,35.905,2.24), (10.31,-2.86,10.57,-2.54), (18.395,-2.86,18.655,-2.54), (20.975,-2.86,21.235,-2.54), (35.06,-2.86,35.32,-2.54), (10.37,-2.54,10.51,1.18), (18.455,-2.54,18.595,2.24), (21.035,-2.54,21.175,2.24), (35.12,-2.54,35.26,1.18), (6.59,-2.26,6.85,-1.94), (31.985,-2.26,32.245,-1.94), (6.65,-1.94,6.79,1.18), (32.045,-1.94,32.185,2.24), (2.375,-1.66,2.635,-1.34), (4.16,-1.66,4.42,-1.34), (4.805,-1.66,5.065,-1.34), (7.235,-1.66,7.495,-1.34), (8.525,-1.66,8.785,-1.34), (12.245,-1.66,12.505,-1.34), (14.03,-1.66,14.29,-1.34), (23.405,-1.66,23.665,-1.34), (4.22,-1.34,4.36,1.18), (8.585,-1.34,8.725,2.24), (12.305,-1.34,12.445,2.24), (14.09,-1.34,14.23,1.18), (23.465,-1.34,23.605,2.24), (0.44,-1.06,0.7,-0.74), (17.105,-1.06,17.365,-0.74), (19.685,-1.06,19.945,-0.74), (25.19,-1.06,25.45,-0.74), (27.125,-1.06,27.385,-0.74), (28.91,-1.06,29.17,-0.74), (33.275,-1.06,33.535,-0.74), (0.5,-0.74,0.64,1.18), (17.165,-0.74,17.305,2.24), (19.745,-0.74,19.885,2.24), (25.25,-0.74,25.39,1.18), (27.185,-0.74,27.325,2.24), (28.97,-0.74,29.11,1.18), (33.335,-0.74,33.475,2.24), (1.085,2.24,1.345,2.56), (8.525,2.24,8.785,2.56), (10.955,2.24,11.215,2.56), (23.405,2.24,23.665,2.56), (25.835,2.24,26.095,2.56), (33.275,2.24,33.535,2.56), (35.705,2.24,35.965,2.56), (17.81,5.01,17.95,7.27), (22.82,5.01,22.96,7.27), (32.69,5.01,32.83,7.27)])
encoder.add(gdstk.Reference(inv, (3.72,0)))
encoder.add(gdstk.Reference(nand2, (0,0)))
encoder.add(gdstk.Reference(nand2, (6.15,0)))
encoder.add(gdstk.Reference(inv, (13.59,0)))
encoder.add(gdstk.Reference(nand2, (9.87,0)))
encoder.add(gdstk.Reference(nand4, (16.02,0)))
encoder.add(gdstk.Reference(inv, (22.32,0)))
encoder.add(gdstk.Reference(nand2, (24.75,0)))
encoder.add(gdstk.Reference(inv, (28.47,0)))
encoder.add(gdstk.Reference(nand2, (30.9,0)))
encoder.add(gdstk.Reference(inv, (34.62,0)))
encoder.add(gdstk.Label('t1', (1.215,-3.3), layer=69, texttype=5))
encoder.add(gdstk.Label('t2', (4.935,-3.3), layer=69, texttype=5))
encoder.add(gdstk.Label('t3', (11.085,-3.3), layer=69, texttype=5))
encoder.add(gdstk.Label('t4', (14.805,-3.3), layer=69, texttype=5))
encoder.add(gdstk.Label('t5', (25.965,-3.3), layer=69, texttype=5))
encoder.add(gdstk.Label('t6', (29.685,-3.3), layer=69, texttype=5))
encoder.add(gdstk.Label('t7', (35.835,-3.3), layer=69, texttype=5))
encoder.add(gdstk.Label('b0', (17.88,7.2), layer=69, texttype=5))
encoder.add(gdstk.Label('b1', (32.76,7.2), layer=69, texttype=5))
encoder.add(gdstk.Label('b2', (22.89,7.2), layer=69, texttype=5))
encoder.add(gdstk.Label('vdd', (0.45,6.41), layer=68, texttype=5))
encoder.add(gdstk.Label('vss', (0.45,0), layer=68, texttype=5))

lib.write_gds('encoder.gds')
